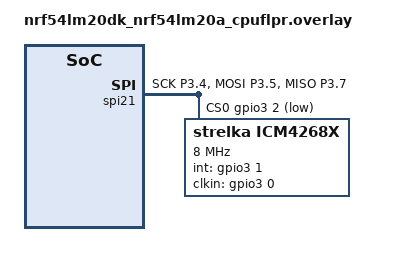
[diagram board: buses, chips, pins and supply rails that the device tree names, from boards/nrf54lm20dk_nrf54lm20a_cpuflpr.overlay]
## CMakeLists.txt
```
# NIC-Strelka — the FLPR's program: the sensor alone, on the nRF54LM20A's RISC-V coprocessor
# (FIRMWARE.md, The sensor on the FLPR). Built apart from the Belka's sysbuild, as Nordic's guide
# asks (the SDK's nrf54l_signing_with_payload.rst), then merged into the Belka's signed image by
# flpr/merge.py:
#
#     west build -b nrf54lm20dk/nrf54lm20a/cpuflpr --no-sysbuild -d build-flpr firmware/flpr
#
# Built against nRF Connect SDK v3.4.0, not run on hardware: the kit decides it.
cmake_minimum_required(VERSION 3.20.0)
list(APPEND DTS_ROOT ${CMAKE_CURRENT_LIST_DIR}/../belka)
find_package(Zephyr REQUIRED HINTS $ENV{ZEPHYR_BASE})
project(strelka_flpr LANGUAGES C)

set(COMMON ${CMAKE_CURRENT_LIST_DIR}/../common)
set(BELKA ${CMAKE_CURRENT_LIST_DIR}/../belka/src)
target_sources(app PRIVATE
  src/main.c
  ${BELKA}/imu.c
  ${COMMON}/imu_tables.c
)
target_include_directories(app PRIVATE ${BELKA} ${COMMON})
```

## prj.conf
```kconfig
# NIC-Strelka — the FLPR's program: SPI to the sensor, GPIO for its chip select, nothing else;
# no console, UART30's instance being the gauge's TWIM30 on the main core
CONFIG_SPI=y
CONFIG_GPIO=y
CONFIG_GPIO_NRFX_INTERRUPT=n
CONFIG_LOG=n
CONFIG_CONSOLE=n
CONFIG_UART_CONSOLE=n
CONFIG_SERIAL=n
CONFIG_BOOT_BANNER=n
```

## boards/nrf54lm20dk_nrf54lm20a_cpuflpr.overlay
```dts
/* NIC-Strelka — the FLPR's view (FIRMWARE.md, The sensor on the FLPR): SPIM21 and the sensor on
 * it, as the Belka's overlay had them; the ring in RAM shared with the main core, and the card's
 * buffer beside it, the main core's while it holds the card; the code's
 * partition inside the Belka's first image slot, at the place belka/boards/flpr.overlay reserves;
 * no console and no GPIOTE, which the main core keeps. */

/ {
	chosen {
		/delete-property/ zephyr,console;
		/delete-property/ zephyr,shell-uart;
	};

	aliases {
		imu = &icm4268x;
	};

	reserved-memory {
		#address-cells = <1>;
		#size-cells = <1>;
		ranges;

		/* the card's buffer: 256 blocks of 512 B, belka/boards/flpr.overlay's */
		card_buffer: memory@20040000 {
			reg = <0x20040000 0x20000>;
		};

		/* the ring: 32 B of head and 1 024 samples of 24 B (common/sensor_ring.h) */
		sensor_ring: memory@20061800 {
			reg = <0x20061800 0x6400>;
		};
	};
};

&cpuflpr_rram {
	reg = <0x70000 DT_SIZE_K(96)>;
	ranges = <0x0 0x70000 DT_SIZE_K(96)>;
};

&cpuflpr_code_partition {
	reg = <0x0 DT_SIZE_K(96)>;
};

&uart30 {
	status = "disabled";
};

&gpio0 {
	status = "disabled";
};

&gpio1 {
	status = "disabled";
};

&gpio2 {
	status = "disabled";
};

&gpiote20 {
	status = "disabled";
};

&gpiote30 {
	status = "disabled";
};

&pinctrl {
	/* the sensor: SPIM21 on P3.04 SCK, P3.05 the sensor's SDI, P3.07 its SDO; CS P3.02 */
	spi21_default: spi21_default {
		group1 {
			psels = <NRF_PSEL(SPIM_SCK, 3, 4)>, <NRF_PSEL(SPIM_MOSI, 3, 5)>,
				<NRF_PSEL(SPIM_MISO, 3, 7)>;
		};
	};
	spi21_sleep: spi21_sleep {
		group1 {
			psels = <NRF_PSEL(SPIM_SCK, 3, 4)>, <NRF_PSEL(SPIM_MOSI, 3, 5)>,
				<NRF_PSEL(SPIM_MISO, 3, 7)>;
			low-power-enable;
		};
	};
};

&spi21 {
	status = "okay";
	pinctrl-0 = <&spi21_default>;
	pinctrl-1 = <&spi21_sleep>;
	pinctrl-names = "default", "sleep";
	cs-gpios = <&gpio3 2 GPIO_ACTIVE_LOW>;

	icm4268x: icm4268x@0 {
		compatible = "strelka,icm4268x";
		reg = <0>;
		spi-max-frequency = <8000000>;
		int-gpios = <&gpio3 1 GPIO_ACTIVE_HIGH>;      /* INT1, the data-ready */
		clkin-gpios = <&gpio3 0 GPIO_ACTIVE_HIGH>;    /* pin 9, the main core's */
	};
};

&gpio3 {
	status = "okay";
};
```

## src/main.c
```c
/* NIC-Strelka — the FLPR's program: the sensor alone (FIRMWARE.md, The sensor on the FLPR). It
 * finds the sensor, sets it at the main core's word, and while it measures, waits for each
 * data-ready's stamp in TIMER22 — captured there in hardware, the main core's timer — reads that
 * sample over SPIM21 and lays it in the ring the main core empties (common/sensor_ring.h). No
 * interrupt of its own: the FLPR does nothing else. Built against nRF Connect SDK v3.4.0 for
 * nrf54lm20dk/nrf54lm20a/cpuflpr, not run on hardware: the kit decides it. */
#include <string.h>
#include <zephyr/kernel.h>
#include <zephyr/devicetree.h>
#include <hal/nrf_timer.h>
#include "imu.h"
#include "imu_tables.h"
#include "sensor_ring.h"

#define RING_NODE DT_NODELABEL(sensor_ring)
BUILD_ASSERT(DT_REG_SIZE(RING_NODE) >= sizeof(struct ring), "the ring's region holds it");
static struct ring *const r = (struct ring *)DT_REG_ADDR(RING_NODE);

#define T_STAMP NRF_TIMER22   /* the main core's free timer; its CC[0] the data-ready's capture */

static uint32_t period_ticks;  /* 16 MHz / the sensor's own rate */
static uint32_t last;          /* the last stamp taken */
static bool have_last;

static void command(uint8_t cmd)
{
	struct imu_config cfg = {
		.rate_hz = r->head.rate_hz,
		.acc_g = r->head.acc_g,
		.gyro_dps = (uint16_t)(r->head.gyro_125 * 125u),
		.hg = r->head.hg,
		.n = r->head.n,
	};

	switch (cmd) {
	case RING_CMD_SET:
		if (cfg.rate_hz == 0 || imu_configure(&cfg)) {
			r->head.state = RING_FAULT;
			break;
		}
		period_ticks = 16000000u / imu_sensor_hz(cfg.rate_hz, cfg.n);
		/* set while running — the session's settings — it runs on with them, as the main
		 * core's fallback does; set before the start, it waits for the start */
		r->head.state = r->head.state == RING_RUN ? RING_RUN : RING_SET;
		break;
	case RING_CMD_START:
		r->head.state = imu_start() ? RING_FAULT : RING_RUN;
		break;
	case RING_CMD_STOP:
		imu_stop();
		r->head.state = RING_SET;
		break;
	default:
		break;
	}
	/* only the data-readies after the command */
	last = nrf_timer_cc_get(T_STAMP, NRF_TIMER_CC_CHANNEL0);
	have_last = false;
}

static void take(uint32_t stamp)
{
	struct strelka_step step;
	struct ring_sample s;
	bool acc_out, gyro_out;
	int16_t hg[3];

	if (imu_read_step(&step, hg, &acc_out, &gyro_out)) {
		r->head.state = RING_FAULT;
		return;
	}
	/* a stamp more than a period and a half after the last: the samples between passed */
	if (have_last && period_ticks) {
		uint32_t n = (stamp - last + period_ticks / 2) / period_ticks;

		if (n > 1) {
			r->head.missed = (uint16_t)(r->head.missed + n - 1);
		}
	}
	last = stamp;
	have_last = true;
	s.stamp = stamp;
	memcpy(s.a, step.a, sizeof(s.a));
	memcpy(s.g, step.g, sizeof(s.g));
	memcpy(s.hg, hg, sizeof(s.hg));
	s.pad = 0;
	ring_push(r, &s);
	r->head.temp_half = ring_temp_half(imu_temp_centi());
}

int main(void)
{
	/* the head was cleared by the main core before it started this core; the sensor's byte
	 * last, so that the main core reads the rest set */
	r->head.state = RING_OFF;
	RING_FENCE();
	r->head.sensor = imu_init() ? 0 : imu_whoami();

	for (;;) {
		uint8_t seq = r->head.cmd_seq;

		if (seq != r->head.done_seq) {
			RING_FENCE();
			command(r->head.cmd);
			RING_FENCE();
			r->head.done_seq = seq;
		}
		if (r->head.state != RING_RUN) {
			k_sleep(K_MSEC(1));
			continue;
		}
		uint32_t stamp = nrf_timer_cc_get(T_STAMP, NRF_TIMER_CC_CHANNEL0);

		if (stamp != last) {
			take(stamp);
		}
	}
	return 0;
}
```
